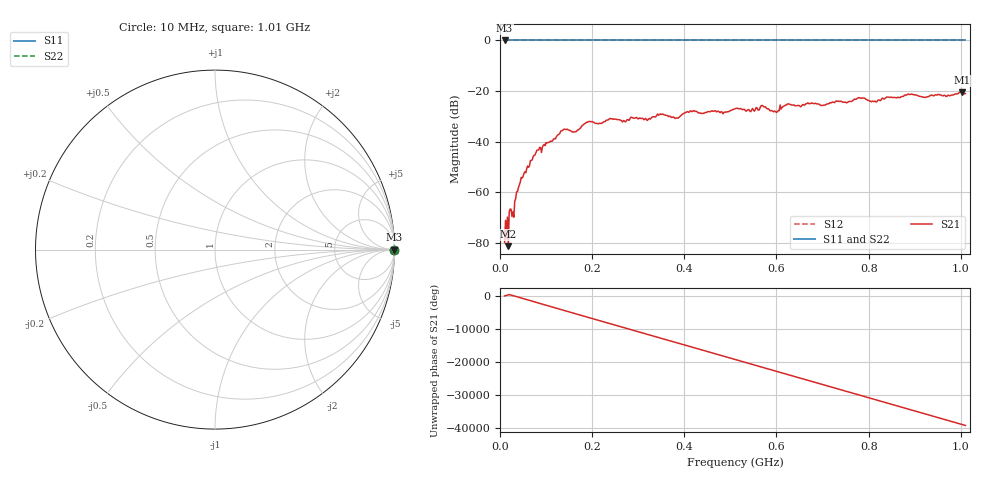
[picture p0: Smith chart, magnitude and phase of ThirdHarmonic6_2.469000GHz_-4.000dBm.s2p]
! 8/17/2025 4:31:40 AM
! C:\ANRITSUVNA\TEMP\TEMP.S2P
! CHANNEL.1
! TR.MEASUREMENT
! RAW.DATA
! RF.CORRECTION.OFF
! AVERAGING.OFF
! IF.BANDWIDTH: 5KHZ
! SWEEPTYPE:  FREQ.SWEEP(Linear)
! Reference Plane Port Info
! PORT:  PORT1  PORT2
! DISTANCE:  0  m  0  m
! TIME:  0  s  0  s
! PHASE.OFFSET:  0  deg.  0  deg.
! LOSS:  0  dB  0  dB
! REF.LOSS:  0  dB  0  dB
! REF.FREQ:  0  Hz  0  Hz
! Power Info
! POWER:  -20  dBm  -20  dBm
! EFF.POWER:  -20  dBm  -20  dBm
! SOURCE.ATTEN:  0  dB  0  dB
! TEST.ATTEN:  0  dB  0  dB
# GHZ S RI R 50.0
! FREQ.GHZ  S11RE  S11IM  S21RE  S21IM  S12RE  S12IM  S22RE  S22IM
!; PortSelection: Port_12
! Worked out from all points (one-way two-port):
!   501 points, 10 MHz to 1.01 GHz, reference 50 ohm
!   highest |S21| = -20.45 dB at 1.002 GHz (marker M1); lowest = -81.4 dB at 18 MHz (marker M2)
!   lowest |S11| = 0.0 dB at 10 MHz (marker M3)
!   |S11| at or under -10 dB: nowhere
!   |S22| runs from 0.0 to 0.0 dB; largest |S21 - S12| = 1.1
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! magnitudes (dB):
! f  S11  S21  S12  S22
! 10 MHz  0.0  -79.9  0.0  0.0
! 18 MHz  0.0  -81.4  0.0  0.0
! 24 MHz  0.0  -66.8  0.0  0.0
! 30 MHz  0.0  -69.9  0.0  0.0
! 44 MHz  0.0  -56.1  0.0  0.0
! 82 MHz  0.0  -43.4  0.0  0.0
! 136 MHz  0.0  -35.6  0.0  0.0
! 162 MHz  0.0  -36.2  0.0  0.0
! 178 MHz  0.0  -33.7  0.0  0.0
! 192 MHz  0.0  -32.1  0.0  0.0
! 322 MHz  0.0  -31.1  0.0  0.0
! 344 MHz  0.0  -29.5  0.0  0.0
! 384 MHz  0.0  -30.6  0.0  0.0
! 416 MHz  0.0  -28.1  0.0  0.0
! 510 MHz  0.0  -27.0  0.0  0.0
! 570 MHz  0.0  -25.8  0.0  0.0
! 598 MHz  0.0  -28.1  0.0  0.0
! 624 MHz  0.0  -25.1  0.0  0.0
! 678 MHz  0.0  -24.8  0.0  0.0
! 844 MHz  0.0  -22.4  0.0  0.0
! 1.002 GHz  0.0  -20.5  0.0  0.0
! 1.01 GHz  0.0  -21.0  0.0  0.0
